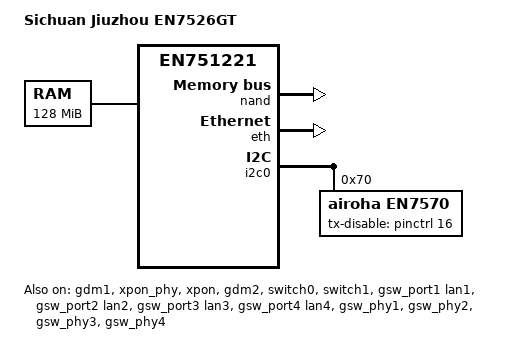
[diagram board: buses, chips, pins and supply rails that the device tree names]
// SPDX-License-Identifier: (GPL-2.0-only OR BSD-2-Clause)
/dts-v1/;

#include "en751221.dtsi"

/ {
	model = "Sichuan Jiuzhou EN7526GT";
	compatible = "jiuzhou,en7526gt", "econet,en751221";

	memory@0 {
		device_type = "memory";
		reg = <0x00000000 0x08000000>;
	};

	chosen {
		stdout-path = "/serial@1fbf0000:115200";
		linux,usable-memory-range = <0x00020000 0x07fe0000>;
	};
};

&nand {
	status = "okay";
	econet,bmt;
	econet,bbt-table-size = <250>;

	partitions {
		compatible = "fixed-partitions";
		#address-cells = <1>;
		#size-cells = <1>;

		partition@0 {
			label = "bootloader";
			reg = <0x0 0x40000>;
			read-only;

			nvmem-layout {
				compatible = "fixed-layout";
				#address-cells = <1>;
				#size-cells = <1>;

				macaddr_bootloader_ff48: macaddr@ff48 {
					compatible = "mac-base";
					reg = <0xff48 0x6>;
					#nvmem-cell-cells = <1>;
				};
			};
		};

		partition@40000 {
			label = "romfile";
			reg = <0x40000 0x40000>;
		};

		partition@80000 {
			label = "tclinux";
			reg = <0x80000 0xa00000>;
			econet,enable-remap;
		};

		/*
		 * Nested inside tclinux. The factory split is not erase-block
		 * aligned, so round the rootfs start up to the next block.
		 */
		partition@1c0000 {
			label = "rootfs";
			reg = <0x1c0000 0x8c0000>;
			linux,rootfs;
		};

		partition@a80000 {
			label = "tclinux_slave";
			reg = <0xa80000 0x6ae0000>;
		};

		partition@7560000 {
			label = "reservearea";
			reg = <0x7560000 0x80000>;

			nvmem-layout {
				compatible = "fixed-layout";
				#address-cells = <1>;
				#size-cells = <1>;

				/*
				 * Factory EN7570 data: 100 big-endian 32-bit
				 * words. The GPON magic is at cell offset 0x94,
				 * which is 0x30694 in this partition.
				 */
				en7570_calibration: calibration@30600 {
					reg = <0x30600 0x190>;
				};
			};
		};
	};
};

&eth {
	/* 128 MiB board: keep the vendor QDMA descriptor profile. */
	status = "okay";
};

&gdm1 {
	status = "okay";
	nvmem-cells = <&macaddr_bootloader_ff48 0>;
	nvmem-cell-names = "mac-address";
};

&i2c0 {
	status = "okay";

	en7570: lddla@70 {
		compatible = "airoha,en7570";
		reg = <0x70>;
		
		nvmem-cells = <&en7570_calibration>;
		nvmem-cell-names = "calibration";
		tx-disable-gpios = <&pinctrl 16 GPIO_ACTIVE_HIGH>;

		#optical-frontend-cells = <0>;
	};
};

&xpon_phy {
	status = "okay";
};

&xpon {
	status = "okay";

	airoha,gpon-serial-from-mac;
	omci-vendor-id = "JZSH";
	/* Four Ethernet UNIs: the lan1 to lan4 jacks. */
	omci-uni-count = /bits/ 8 <4>;

	optical-frontends = <&en7570>;
	optical-frontend-names = "pon";
};

&gdm2 {
	status = "okay";
	phy-mode = "internal";
	airoha,xpon-managed;
	openwrt,netdev-name = "pon0";
	nvmem-cells = <&macaddr_bootloader_ff48 1>;
	nvmem-cell-names = "mac-address";
};

/*
 * Every LAN jack is on the MCM companion switch, which cascades to the SoC
 * switch over TRGMII through gport5. The SoC's own front-panel PHYs are
 * therefore left disabled.
 */
&switch0 {
	status = "okay";
};

&switch1 {
	status = "okay";
};

&gsw_port1 {
	label = "lan1";
	status = "okay";
};

&gsw_port2 {
	label = "lan2";
	status = "okay";
};

&gsw_port3 {
	label = "lan3";
	status = "okay";
};

&gsw_port4 {
	label = "lan4";
	status = "okay";
};

&gsw_phy1 {
	status = "okay";
};

&gsw_phy2 {
	status = "okay";
};

&gsw_phy3 {
	status = "okay";
};

&gsw_phy4 {
	status = "okay";
};

&pcie0 {
	status = "disabled";
};
